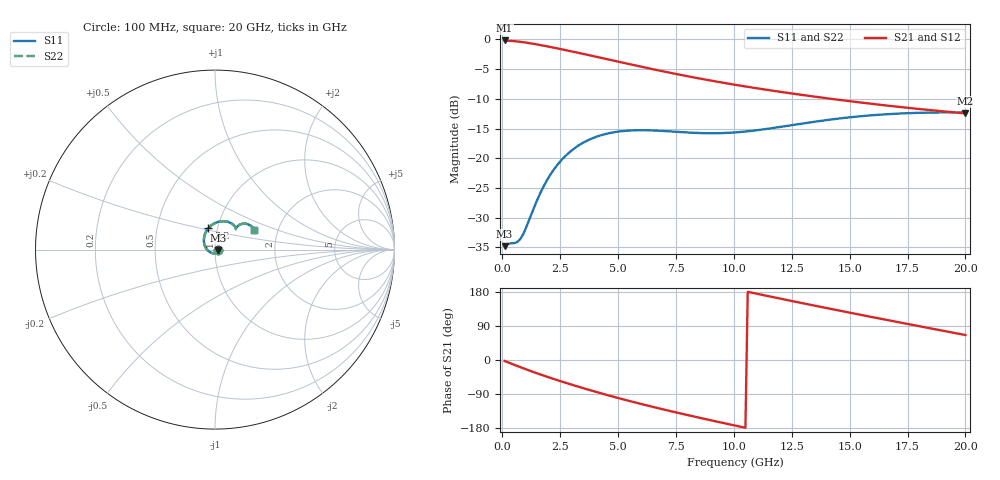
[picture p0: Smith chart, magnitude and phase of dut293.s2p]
! Touchstone file exported from HFSS 2024.1.0
!  File:  C:/UserFiles/LocalFiles/RDL_TSV_Batchsim/temp_RDL_TSV_293_1779467771.aedt
!  Generated:  12:53:23 AM May 23, 2026
!  Design:  RDL_TSV
!  Project:  temp_RDL_TSV_293_1779467771
!  Setup:  Setup1
!  Solution:  Sweep
! Variables:
!  dtsv = 12.37um
!  hbump = 3um
!  htsv = 91.08um
!  ldown = 520.2um
!  lrdl = 691.44um
!  p = 40
!  p1 = 43.05um
!  rhole = 10um
!  subl = 4326.36um
!  t = 450um
!  tdown = 3.43um
!  trdl = 4.58um
!  viad = 10um
!  wdown = 16.35um
!  wrdl = 27.78um
!  xbump = 18um
# GHz S MA R 50.000000
! Terminal data exported
! Port[1] = TM1_1_T1
! Port[2] = TM1_4_T1
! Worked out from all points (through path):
!   200 points, 100 MHz to 20 GHz, reference 50 ohm
!   highest |S21| = -0.17 dB at 100 MHz (marker M1); lowest = -12.4 dB at 20 GHz (marker M2)
!   group delay of S21, straight-line fit = 38.9 ps
!   lowest |S11| = -34.8 dB at 100 MHz (marker M3), VSWR 1.04, Z = 51.8 - j0.257 ohm
!   |S11| at or under -10 dB: start of sweep to end of sweep
!   |S22| runs from -34.8 to -12.2 dB; largest |S21 - S12| = 1e-14
!   S11 on the Smith chart (normalised r, x): 100 MHz: 1.04, -0.01; 3.2 GHz: 0.90, +0.22; 20 GHz: 1.50, +0.35
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0.1  0.01823 -7.8  0.9811 -2.6  0.9811 -2.6  0.01823 -7.8
! Gamma 0 0 0 0
! Port Impedance 50 0 50 0
0.6  0.01955 -71.6  0.9644 -14.7  0.9644 -14.7  0.01954 -71.7
0.8  0.02123 -102.1  0.9544 -19.4  0.9544 -19.4  0.02123 -102.1
1  0.0253 -130.2  0.9428 -24.0  0.9428 -24.0  0.0253 -130.3
1.6  0.04897 173.6  0.901 -37.3  0.901 -37.3  0.049 173.6
1.9  0.06388 155.9  0.8782 -43.6  0.8782 -43.6  0.06393 155.9
2.3  0.08417 137.4  0.8472 -51.7  0.8472 -51.7  0.08425 137.4
2.7  0.1035 122.5  0.8163 -59.5  0.8163 -59.5  0.1036 122.5
3.2  0.1247 107.2  0.7783 -68.9  0.7783 -68.9  0.1249 107.2
3.5  0.1356 99.3  0.7559 -74.4  0.7559 -74.4  0.1358 99.3
4.2  0.1551 83.7  0.7054 -86.8  0.7054 -86.8  0.1552 83.7
5.1  0.1687 68.4  0.6448 -101.9  0.6448 -101.9  0.1689 68.4
5.9  0.1723 58.4  0.5957 -114.6  0.5957 -114.6  0.1725 58.4
6.8  0.1705 50.7  0.5465 -128.1  0.5465 -128.1  0.1707 50.7
8.3  0.1638 44.9  0.478 -149.5  0.478 -149.5  0.1639 44.9
10.1  0.1654 45.2  0.4143 -173.6  0.4143 -173.6  0.1655 45.2
11.8  0.1812 46.0  0.3676 164.5  0.3676 164.5  0.1813 46.2
13.4  0.202 44.3  0.332 144.5  0.332 144.5  0.2022 44.5
15  0.2213 40.6  0.3026 124.9  0.3026 124.9  0.2217 40.8
16.7  0.2356 35.6  0.2767 104.6  0.2767 104.6  0.2362 35.8
18.3  0.2422 31.1  0.2565 85.7  0.2565 85.7  0.2429 31.3
20  0.2429 26.9  0.2389 65.9  0.2389 65.9  0.2438 27.1
